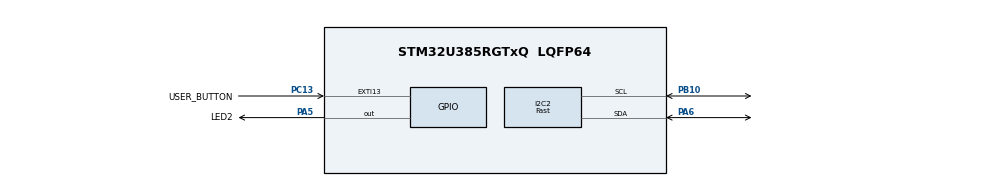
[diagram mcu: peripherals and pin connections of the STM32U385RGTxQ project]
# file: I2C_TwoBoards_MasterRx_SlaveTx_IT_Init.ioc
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CORTEX_M33_NS.userName=CORTEX_M33
I2C2.I2C_Fall_Time=10
I2C2.I2C_Rise_Time=100
I2C2.I2C_Speed_Mode=I2C_Fast
I2C2.OwnAddress=SLAVE_OWN_ADDRESS
I2C2.Timing=0x10901B4F
Mcu.Family=STM32U3
Mcu.Name=STM32U385RGTxQ
Mcu.Package=LQFP64
NVIC.EXTI13_IRQn=true\:0\:0\:false\:false\:true\:true\:true\:true
NVIC.I2C2_ER_IRQn=true\:0\:0\:false\:false\:true\:true\:true\:true
NVIC.I2C2_EV_IRQn=true\:0\:0\:false\:false\:true\:true\:true\:true
NVIC.PriorityGroup=NVIC_PRIORITYGROUP_4
PA5.GPIO_Label=LED2
PA5.Signal=GPIO_Output
PA6.GPIO_Pu=GPIO_PULLUP
PA6.GPIO_Speed=GPIO_SPEED_FREQ_HIGH
PA6.Mode=I2C
PA6.Signal=I2C2_SDA
PB10.GPIO_Pu=GPIO_PULLUP
PB10.GPIO_Speed=GPIO_SPEED_FREQ_HIGH
PB10.Mode=I2C
PB10.Signal=I2C2_SCL
PC13.GPIO_Label=USER_BUTTON
PC13.Signal=GPXTI13
PH0-OSC_IN\ (PH0).Mode=HSE-External-Oscillator
PH0-OSC_IN\ (PH0).Signal=RCC_OSC_IN
PH1-OSC_OUT\ (PH1).Mode=HSE-External-Oscillator
PH1-OSC_OUT\ (PH1).Signal=RCC_OSC_OUT
ProjectManager.HeapSize=0x200
ProjectManager.StackSize=0x400
ProjectManager.TargetToolchain=EWARM V9.20
RCC.ADCFreq_Value=96000000
RCC.AHBFreq_Value=96000000
RCC.APB1Freq_Value=96000000
RCC.APB1TimFreq_Value=96000000
RCC.APB2Freq_Value=96000000
RCC.APB2TimFreq_Value=96000000
RCC.APB3Freq_Value=96000000
RCC.CortexFreq_Value=12000000
RCC.FLatency=FLASH_LATENCY_2
RCC.HCLKFreq_Value=96000000
RCC.HSE_VALUE=16000000
RCC.HSI48_VALUE=48000000
RCC.HSI_VALUE=16000000
RCC.LSE_VALUE=32768
RCC.LSIDIV_VALUE=32000
RCC.MSISDIV=RCC_MSI_DIV1
RCC.SYSCLKFreq_VALUE=96000000
RCC.USBFreq_Value=96000000
VP_ICACHE_VS_ICACHE.Mode=DirectMappedCache
VP_PWR_VS_DBSignals.Mode=DisableDeadBatterySignals
VP_PWR_VS_LPOM.Mode=PowerOptimisation
VP_PWR_VS_SECSignals.Mode=Security/Privilege
board=custom

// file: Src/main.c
/* USER CODE BEGIN Header */
/**
  ******************************************************************************
  * @file    Examples_LL/I2C/I2C_TwoBoards_MasterRx_SlaveTx_IT_Init/Src/main.c
  * @author  MCD Application Team
  * @brief   This example describes how to send/receive bytes over I2C IP using
  *          the STM32U3xx I2C LL API.
  *          Peripheral initialization done using LL unitary services functions.
  ******************************************************************************
  * @attention
  *
  * Copyright (c) 2024 STMicroelectronics.
  * All rights reserved.
  *
  * This software is licensed under terms that can be found in the LICENSE file
  * in the root directory of this software component.
  * If no LICENSE file comes with this software, it is provided AS-IS.
  *
  ******************************************************************************
  */
/* USER CODE END Header */
#include "main.h"

/* USER CODE BEGIN PD */
/**
  * @brief I2C devices settings
  */
/* Timing register value is computed with the STM32CubeMX Tool,
  * Fast Mode @400kHz with I2CCLK = 24 MHz,
  * rise time = 100ns, fall time = 10ns
  * Timing Value = (uint32_t)0x00C0216C
  */
#define I2C_TIMING               0x00C0216C

/**
  * @brief Define related to SlaveTransmit process
  */
#define SLAVE_BYTE_TO_SEND       (uint8_t)0xA5

/* USER CODE END PD */

/* USER CODE BEGIN PV */
#ifndef SLAVE_BOARD
/**
  * @brief Variables related to MasterReceive process
  */
uint8_t      aReceiveBuffer[0xF] = {0};
__IO uint8_t ubReceiveIndex      = 0;
__IO uint8_t ubButtonPress       = 0;
#endif /* SLAVE_BOARD */
/* USER CODE END PV */

void SystemClock_Config(void);
static void MX_GPIO_Init(void);
static void MX_ICACHE_Init(void);
static void MX_I2C2_Init(void);
/* USER CODE BEGIN PFP */
#ifndef SLAVE_BOARD
#endif /* MASTER_BOARD */
void     LED_On(void);
void     LED_Off(void);
void     LED_Blinking(uint32_t Period);
#ifdef SLAVE_BOARD
#else /* MASTER_BOARD */
void     WaitForUserButtonPress(void);
void     Handle_I2C_Master(void);
#endif /* SLAVE_BOARD */
/* USER CODE END PFP */

int main(void)
{

  /* MCU Configuration--------------------------------------------------------*/

  /* Reset of all peripherals, Initializes the Flash interface and the Systick. */

  /* System interrupt init*/
  NVIC_SetPriorityGrouping(NVIC_PRIORITYGROUP_4);

  /* SysTick_IRQn interrupt configuration */
  NVIC_SetPriority(SysTick_IRQn, NVIC_EncodePriority(NVIC_GetPriorityGrouping(),15, 0));

  /* Configure the system clock */
  SystemClock_Config();

  /* Initialize all configured peripherals */
  MX_GPIO_Init();
  MX_ICACHE_Init();
  MX_I2C2_Init();
  /* USER CODE BEGIN 2 */

  /* Set LED2 Off */
  LED_Off();

#ifdef SLAVE_BOARD
#else /* MASTER_BOARD */
  /* Wait for User push-button press to start transfer */
  WaitForUserButtonPress();

  /* Handle I2C2 events (Master) */
  Handle_I2C_Master();
#endif /* SLAVE_BOARD */
  /* USER CODE END 2 */

  /* Infinite loop */
  while (1)
  {

  }
}

void SystemClock_Config(void)
{
  /** Enable Epod Booster
  */
  LL_AHB1_GRP2_EnableClock(LL_AHB1_GRP2_PERIPH_PWR);
  LL_RCC_SetEPODBoosterClkSource(LL_RCC_EPODBOOSTCLKSRCE_MSIS);
  LL_RCC_SetEPODBoosterClkPrescaler(LL_RCC_EPODBOOSTCLKPRESCAL_1);
  LL_PWR_EnableEPODBooster();
  while(LL_PWR_IsActiveFlag_BOOST() != 1U)
  {
  }

  /** Configure the main internal regulator output voltage
  */
  LL_PWR_SetRegulVoltageScaling(LL_PWR_REGU_VOLTAGE_SCALE1);
  while(LL_PWR_GetRegulCurrentVOS() != LL_PWR_REGU_VOLTAGE_SCALE1)
  {
  }

  /** Set Flash latency before switching to MSIS
  */
  LL_FLASH_SetLatency(LL_FLASH_LATENCY_2);
  while(LL_FLASH_GetLatency() != LL_FLASH_LATENCY_2)
  {
  }

  /** Activate MSIS as source
  */
  LL_RCC_MSIS_SetClockSource(LL_RCC_MSIS_CLOCK_SOURCE_RC0);
  LL_RCC_MSIS_SetClockDivision(LL_RCC_MSIS_CLOCK_SOURCE_RC_DIV_1);
  LL_RCC_MSI_SetMSIxClockRange();
  LL_RCC_SetSysClkSource(LL_RCC_SYS_CLKSOURCE_MSIS);

  /** Wait till System clock is ready
  */
  while(LL_RCC_GetSysClkSource() != LL_RCC_SYS_CLKSOURCE_MSIS)
  {
  }

  LL_RCC_SetAHBPrescaler(LL_RCC_HCLK_SYSCLK_DIV_1);
  LL_RCC_SetAPB1Prescaler(LL_RCC_APB1_HCLK_DIV_1);
  LL_RCC_SetAPB2Prescaler(LL_RCC_APB2_HCLK_DIV_1);
  LL_RCC_SetAPB3Prescaler(LL_RCC_APB3_HCLK_DIV_1);

  LL_Init1msTick(96000000);

  LL_SetSystemCoreClock(96000000);
}

static void MX_I2C2_Init(void)
{

  LL_I2C_InitTypeDef I2C_InitStruct = {0};

  LL_GPIO_InitTypeDef GPIO_InitStruct = {0};

  LL_RCC_SetI2CClockSource(LL_RCC_I2C2_CLKSOURCE_PCLK1);

  LL_AHB2_GRP1_EnableClock(LL_AHB2_GRP1_PERIPH_GPIOA);
  LL_AHB2_GRP1_EnableClock(LL_AHB2_GRP1_PERIPH_GPIOB);
  /**I2C2 GPIO Configuration
  PA6   ------> I2C2_SDA
  PB10   ------> I2C2_SCL
  */
  GPIO_InitStruct.Pin = LL_GPIO_PIN_6;
  GPIO_InitStruct.Mode = LL_GPIO_MODE_ALTERNATE;
  GPIO_InitStruct.Speed = LL_GPIO_SPEED_FREQ_HIGH;
  GPIO_InitStruct.OutputType = LL_GPIO_OUTPUT_OPENDRAIN;
  GPIO_InitStruct.Pull = LL_GPIO_PULL_UP;
  GPIO_InitStruct.Alternate = LL_GPIO_AF_4;
  LL_GPIO_Init(GPIOA, &GPIO_InitStruct);

  GPIO_InitStruct.Pin = LL_GPIO_PIN_10;
  GPIO_InitStruct.Mode = LL_GPIO_MODE_ALTERNATE;
  GPIO_InitStruct.Speed = LL_GPIO_SPEED_FREQ_HIGH;
  GPIO_InitStruct.OutputType = LL_GPIO_OUTPUT_OPENDRAIN;
  GPIO_InitStruct.Pull = LL_GPIO_PULL_UP;
  GPIO_InitStruct.Alternate = LL_GPIO_AF_4;
  LL_GPIO_Init(GPIOB, &GPIO_InitStruct);

  /* Peripheral clock enable */
  LL_APB1_GRP1_EnableClock(LL_APB1_GRP1_PERIPH_I2C2);

  /* I2C2 interrupt Init */
  NVIC_SetPriority(I2C2_EV_IRQn, NVIC_EncodePriority(NVIC_GetPriorityGrouping(),0, 0));
  NVIC_EnableIRQ(I2C2_EV_IRQn);
  NVIC_SetPriority(I2C2_ER_IRQn, NVIC_EncodePriority(NVIC_GetPriorityGrouping(),0, 0));
  NVIC_EnableIRQ(I2C2_ER_IRQn);

  /* USER CODE BEGIN I2C2_Init 1 */
  /* Configure Event IT:
   *  - Set priority for I2C2_EV_IRQn
   *  - Enable I2C2_EV_IRQn
   */
  NVIC_SetPriority(I2C2_EV_IRQn, 0);
  NVIC_EnableIRQ(I2C2_EV_IRQn);

  /* Configure Error IT:
   *  - Set priority for I2C2_ER_IRQn
   *  - Enable I2C2_ER_IRQn
   */
  NVIC_SetPriority(I2C2_ER_IRQn, 0);
  NVIC_EnableIRQ(I2C2_ER_IRQn);
  /* USER CODE END I2C2_Init 1 */

  /** I2C Initialization
  */
  LL_I2C_EnableAutoEndMode(I2C2);
  LL_I2C_DisableOwnAddress2(I2C2);
  LL_I2C_DisableGeneralCall(I2C2);
  LL_I2C_EnableClockStretching(I2C2);
  I2C_InitStruct.PeripheralMode = LL_I2C_MODE_I2C;
  I2C_InitStruct.Timing = 0x10901B4F;
  I2C_InitStruct.AnalogFilter = LL_I2C_ANALOGFILTER_ENABLE;
  I2C_InitStruct.DigitalFilter = 0;
  I2C_InitStruct.OwnAddress1 = SLAVE_OWN_ADDRESS;
  I2C_InitStruct.TypeAcknowledge = LL_I2C_ACK;
  I2C_InitStruct.OwnAddrSize = LL_I2C_OWNADDRESS1_7BIT;
  LL_I2C_Init(I2C2, &I2C_InitStruct);
  LL_I2C_SetOwnAddress2(I2C2, 0, LL_I2C_OWNADDRESS2_NOMASK);
  /* USER CODE BEGIN I2C2_Init 2 */
#ifdef SLAVE_BOARD
  uint32_t timing = 0;
  timing = __LL_I2C_CONVERT_TIMINGS(0x0, 0xC, 0x0, 0x21, 0x6C);
  LL_I2C_SetTiming(I2C2, timing);

  LL_I2C_SetOwnAddress1(I2C2, SLAVE_OWN_ADDRESS, LL_I2C_OWNADDRESS1_7BIT);
  LL_I2C_EnableOwnAddress1(I2C2);

  LL_I2C_EnableIT_ADDR(I2C2);
#else
  LL_I2C_SetTiming(I2C2, I2C_TIMING);

  LL_I2C_EnableIT_RX(I2C2);
#endif
  LL_I2C_EnableIT_NACK(I2C2);
  LL_I2C_EnableIT_ERR(I2C2);
  LL_I2C_EnableIT_STOP(I2C2);
  /* USER CODE END I2C2_Init 2 */

}

static void MX_ICACHE_Init(void)
{

  /** Enable instruction cache in 1-way (direct mapped cache)
  */
  LL_ICACHE_SetMode(LL_ICACHE_1WAY);
  LL_ICACHE_Enable();

}

static void MX_GPIO_Init(void)
{
  LL_EXTI_InitTypeDef EXTI_InitStruct = {0};
  LL_GPIO_InitTypeDef GPIO_InitStruct = {0};

  /* GPIO Ports Clock Enable */
  LL_AHB2_GRP1_EnableClock(LL_AHB2_GRP1_PERIPH_GPIOC);
  LL_AHB2_GRP1_EnableClock(LL_AHB2_GRP1_PERIPH_GPIOH);
  LL_AHB2_GRP1_EnableClock(LL_AHB2_GRP1_PERIPH_GPIOA);
  LL_AHB2_GRP1_EnableClock(LL_AHB2_GRP1_PERIPH_GPIOB);

  /**/
  LL_GPIO_ResetOutputPin(LED2_GPIO_Port, LED2_Pin);

  /**/
  LL_EXTI_SetEXTISource(LL_EXTI_CONFIG_PORTC, LL_EXTI_CONFIG_LINE13);

  /**/
  EXTI_InitStruct.Line_0_31 = LL_EXTI_LINE_13;
  EXTI_InitStruct.LineCommand = ENABLE;
  EXTI_InitStruct.Mode = LL_EXTI_MODE_IT;
  EXTI_InitStruct.Trigger = LL_EXTI_TRIGGER_RISING;
  LL_EXTI_Init(&EXTI_InitStruct);

  /**/
  LL_GPIO_SetPinPull(USER_BUTTON_GPIO_Port, USER_BUTTON_Pin, LL_GPIO_PULL_NO);

  /**/
  LL_GPIO_SetPinMode(USER_BUTTON_GPIO_Port, USER_BUTTON_Pin, LL_GPIO_MODE_INPUT);

  /**/
  GPIO_InitStruct.Pin = LED2_Pin;
  GPIO_InitStruct.Mode = LL_GPIO_MODE_OUTPUT;
  GPIO_InitStruct.Speed = LL_GPIO_SPEED_FREQ_LOW;
  GPIO_InitStruct.OutputType = LL_GPIO_OUTPUT_PUSHPULL;
  GPIO_InitStruct.Pull = LL_GPIO_PULL_NO;
  LL_GPIO_Init(LED2_GPIO_Port, &GPIO_InitStruct);

  /* EXTI interrupt init*/
  NVIC_SetPriority(EXTI13_IRQn, NVIC_EncodePriority(NVIC_GetPriorityGrouping(),0, 0));
  NVIC_EnableIRQ(EXTI13_IRQn);

}

/* USER CODE BEGIN 4 */
#ifndef SLAVE_BOARD
#endif /* MASTER_BOARD */

#ifdef SLAVE_BOARD

#endif /* SLAVE_BOARD */

/**
  * @brief  Turn-on LED2.
  * @param  None
  * @retval None
  */
void LED_On(void)
{
  /* Turn LED2 on */
  LL_GPIO_SetOutputPin(LED2_GPIO_Port, LED2_Pin);
}

/**
  * @brief  Turn-off LED2.
  * @param  None
  * @retval None
  */
void LED_Off(void)
{
  /* Turn LED2 off */
  LL_GPIO_ResetOutputPin(LED2_GPIO_Port, LED2_Pin);
}

/**
  * @brief  Set LED2 to Blinking mode for an infinite loop (toggle period based on value provided as input parameter).
  * @param  Period : Period of time (in ms) between each toggling of LED
  *   This parameter can be user defined values. Pre-defined values used in that example are :
  *     @arg LED_BLINK_FAST : Fast Blinking
  *     @arg LED_BLINK_SLOW : Slow Blinking
  *     @arg LED_BLINK_ERROR : Error specific Blinking
  * @retval None
  */
void LED_Blinking(uint32_t Period)
{
  /* Turn LED2 on */
  LL_GPIO_SetOutputPin(LED2_GPIO_Port, LED2_Pin);

  /* Toggle IO in an infinite loop */
  while (1)
  {
    LL_GPIO_TogglePin(LED2_GPIO_Port, LED2_Pin);
    LL_mDelay(Period);
  }
}

/******************************************************************************/
/*   IRQ HANDLER TREATMENT Functions                                          */
/******************************************************************************/
#ifdef SLAVE_BOARD
/**
  * @brief  Function called from I2C IRQ Handler when TXIS flag is set
  *         Function is in charge of transmit a byte on I2C lines.
  * @param  None
  * @retval None
  */
void Slave_Ready_To_Transmit_Callback(void)
{
  /* Send the Byte requested by the Master */
  LL_I2C_TransmitData8(I2C2, SLAVE_BYTE_TO_SEND);
}

/**
  * @brief  Function called from I2C IRQ Handler when STOP flag is set
  *         LED2 is On if data are correct.
  * @param  None
  * @retval None
  */
void Slave_Complete_Callback(void)
{
  /* Turn LED2 On:
   *  - Expected bytes have been sent
   *  - Slave Tx sequence completed successfully
   */
  LED_On();
}
#else /* MASTER_BOARD */
/**
  * @brief  Wait for User push-button press to start transfer.
  * @param  None
  * @retval None
  */
/*  */
void WaitForUserButtonPress(void)
{
  while (ubButtonPress == 0)
  {
    LL_GPIO_TogglePin(LED2_GPIO_Port, LED2_Pin);
    LL_mDelay(LED_BLINK_FAST);
  }
  /* Turn LED2 off */
  LL_GPIO_ResetOutputPin(LED2_GPIO_Port, LED2_Pin);
}

/**
  * @brief  Function to manage User push-button
  * @param  None
  * @retval None
  */
void UserButton_Callback(void)
{
  /* Update User push-button variable : to be checked in waiting loop in main program */
  ubButtonPress = 1;
}

/**
  * @brief  This Function handle Master events to perform a reception process
  * @note  This function is composed in one step :
  *        -1- Initiate a Start condition to the Slave device.
  * @param  None
  * @retval None
  */
void Handle_I2C_Master(void)
{
  /* (1) Initiate a Start condition to the Slave device ***********************/

  /* Master Generate Start condition for a read request:
   *  - to the Slave with a 7-Bit SLAVE_OWN_ADDRESS
   *  - with a auto stop condition generation when receive 1 byte
   */
  LL_I2C_HandleTransfer(I2C2, SLAVE_OWN_ADDRESS, LL_I2C_ADDRSLAVE_7BIT, 1, LL_I2C_MODE_AUTOEND, LL_I2C_GENERATE_START_READ);
}

/**
  * @brief  Function called from I2C IRQ Handler when RXNE flag is set
  *         Function is in charge of reading byte received on I2C lines.
  * @param  None
  * @retval None
  */
void Master_Reception_Callback(void)
{
  /* Read character in Receive Data register.
  RXNE flag is cleared by reading data in RXDR register */
  aReceiveBuffer[ubReceiveIndex++] = LL_I2C_ReceiveData8(I2C2);
}

/**
  * @brief  Function called from I2C IRQ Handler when STOP flag is set
  *         Function is in charge of checking data received,
  *         LED2 is On if data are correct.
  * @param  None
  * @retval None
  */
void Master_Complete_Callback(void)
{
  /* Read Received character.
  RXNE flag is cleared by reading of RXDR register */
  if (aReceiveBuffer[ubReceiveIndex - 1] == SLAVE_BYTE_TO_SEND)
  {
    /* Turn LED2 On:
     *  - Expected byte has been received
     *  - Master Rx sequence completed successfully
     */
    LED_On();
  }
  else
  {
    /* Call Error function */
    Error_Callback();
  }
}
#endif /* SLAVE_BOARD */

/**
  * @brief  Function called in case of error detected in I2C IT Handler
  * @param  None
  * @retval None
  */
void Error_Callback(void)
{
#ifdef SLAVE_BOARD
  /* Disable I2C2_EV_IRQn */
  NVIC_DisableIRQ(I2C2_EV_IRQn);
#else
  /* Disable I2C2_EV_IRQn */
  NVIC_DisableIRQ(I2C2_EV_IRQn);
#endif /* SLAVE_BOARD */

  /* Disable I2C2_ER_IRQn */
#ifdef SLAVE_BOARD
  NVIC_DisableIRQ(I2C2_ER_IRQn);
#else
  /* Disable I2C2_ER_IRQn */
  NVIC_DisableIRQ(I2C2_ER_IRQn);
#endif /* SLAVE_BOARD */

  /* Unexpected event : Set LED2 to Blinking mode to indicate error occurs */
  LED_Blinking(LED_BLINK_ERROR);
}

/* USER CODE END 4 */

void Error_Handler(void)
{
  /* USER CODE BEGIN Error_Handler_Debug */
  /* User can add his own implementation to report the HAL error return state */
  /* Infinite Loop */
  while(1)
  {
  }
  /* USER CODE END Error_Handler_Debug */
}

#ifdef  USE_FULL_ASSERT
/**
  * @brief  Reports the name of the source file and the source line number
  *         where the assert_param error has occurred.
  * @param  file: pointer to the source file name
  * @param  line: assert_param error line source number
  * @retval None
  */
void assert_failed(uint8_t *file, uint32_t line)
{
  /* USER CODE BEGIN 6 */
  /* User can add his own implementation to report the file name and line number,
     tex: printf("Wrong parameters value: file %s on line %d\r\n", file, line) */
  /* Infinite Loop */
  while(1)
  {
  }
  /* USER CODE END 6 */
}
#endif /* USE_FULL_ASSERT */
